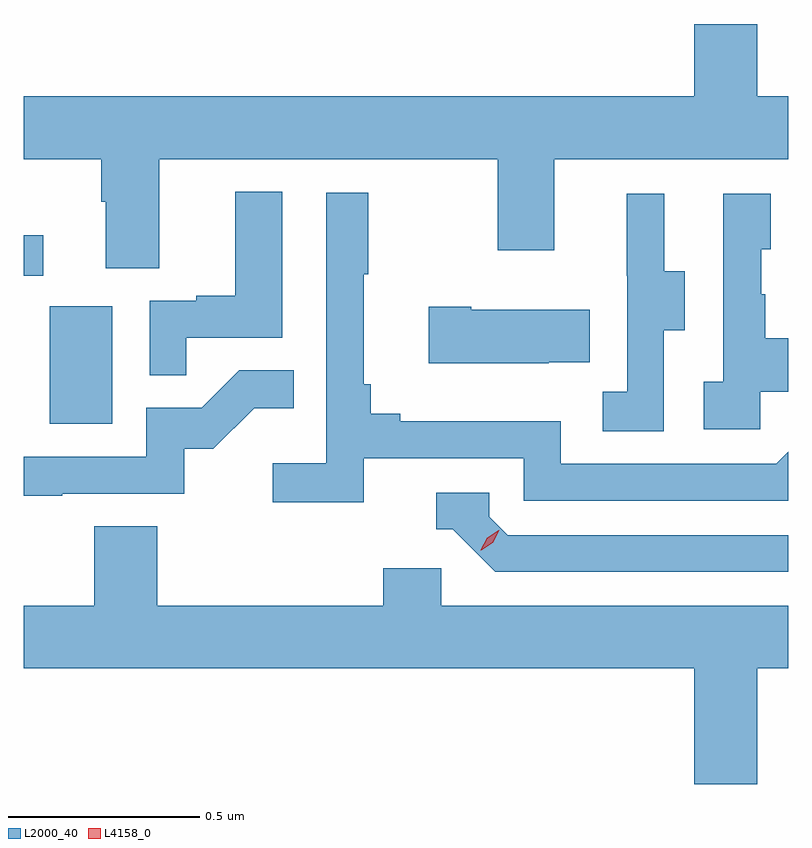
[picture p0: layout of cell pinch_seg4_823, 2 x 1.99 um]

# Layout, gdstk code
import gdstk
lib = gdstk.Library(unit=1e-6, precision=1e-09)
def R(c, l, rs):  # rectangles x0, y0, x1, y1
    for r in rs: c.add(gdstk.rectangle(r[:2], r[2:], *l))
def P(c, l, *ps):  # polygons
    for p in ps: c.add(gdstk.Polygon(p, *l))
L2000_40 = (2000, 40)
L4158_0 = (4158, 0)

pinch_seg4_823 = lib.new_cell('pinch_seg4_823')
R(pinch_seg4_823, L2000_40, [(798.686,794.796,798.85,795.103), (798.618,795.183,798.67,795.289)])
P(pinch_seg4_823, L2000_40, [(798.973,795.488),(799.858,795.488),(799.858,795.249),(800.005,795.249),(800.005,795.488),(800.618,795.488),(800.618,795.652),(800.536,795.652),(800.536,795.841),(800.372,795.841),(800.372,795.652),(798.618,795.652),(798.618,795.488),(798.821,795.488),(798.821,795.376),(798.833,795.376),(798.833,795.202),(798.973,795.202)],
  [(799.043,795.021),(799.294,795.021),(799.294,795.403),(799.172,795.403),(799.172,795.13),(799.069,795.13),(799.069,795.117),(798.948,795.117),(798.948,794.923),(799.043,794.923)],
  [(799.508,794.706),(799.926,794.706),(799.926,794.595),(800.618,794.595),(800.618,794.723),(800.586,794.691),(800.022,794.691),(800.022,794.803),(799.603,794.803),(799.603,794.822),(799.526,794.822),(799.526,794.899),(799.507,794.899),(799.507,795.187),(799.519,795.187),(799.519,795.4),(799.41,795.4),(799.41,794.692),(799.269,794.692),(799.269,794.59),(799.508,794.59)],
  [(800.544,794.879),(800.618,794.879),(800.618,795.019),(800.557,795.019),(800.557,795.134),(800.547,795.134),(800.547,795.252),(800.572,795.252),(800.572,795.397),(800.448,795.397),(800.448,794.906),(800.397,794.906),(800.397,794.781),(800.544,794.781)],
  [(800.292,795.04),(800.347,795.04),(800.347,795.195),(800.293,795.195),(800.293,795.397),(800.195,795.397),(800.195,795.183),(800.196,795.183),(800.196,794.879),(800.133,794.879),(800.133,794.776),(800.292,794.776)],
  [(799.991,794.957),(800.099,794.957),(800.099,795.094),(799.789,795.094),(799.789,795.102),(799.677,795.102),(799.677,794.954),(799.991,794.954)],
  [(798.719,794.613),(799.038,794.613),(799.038,794.73),(799.114,794.73),(799.221,794.837),(799.325,794.837),(799.325,794.936),(799.182,794.936),(799.084,794.838),(798.939,794.838),(798.939,794.709),(798.618,794.709),(798.618,794.608),(798.719,794.608)],
  [(800.618,794.505),(799.884,794.505),(799.836,794.553),(799.836,794.616),(799.697,794.616),(799.697,794.52),(799.74,794.52),(799.851,794.409),(800.618,794.409)],
  [(800.536,794.156),(800.618,794.156),(800.618,794.32),(799.71,794.32),(799.71,794.418),(799.559,794.418),(799.559,794.32),(798.968,794.32),(798.968,794.528),(798.803,794.528),(798.803,794.32),(798.618,794.32),(798.618,794.156),(800.372,794.156),(800.372,793.854),(800.536,793.854)])
P(pinch_seg4_823, L4158_0, [(799.814,794.465),(799.814,794.466),(799.831,794.498),(799.861,794.518),(799.862,794.518),(799.862,794.517),(799.845,794.485),(799.815,794.465)])

lib.write_gds('pinch_seg4_823.gds')
